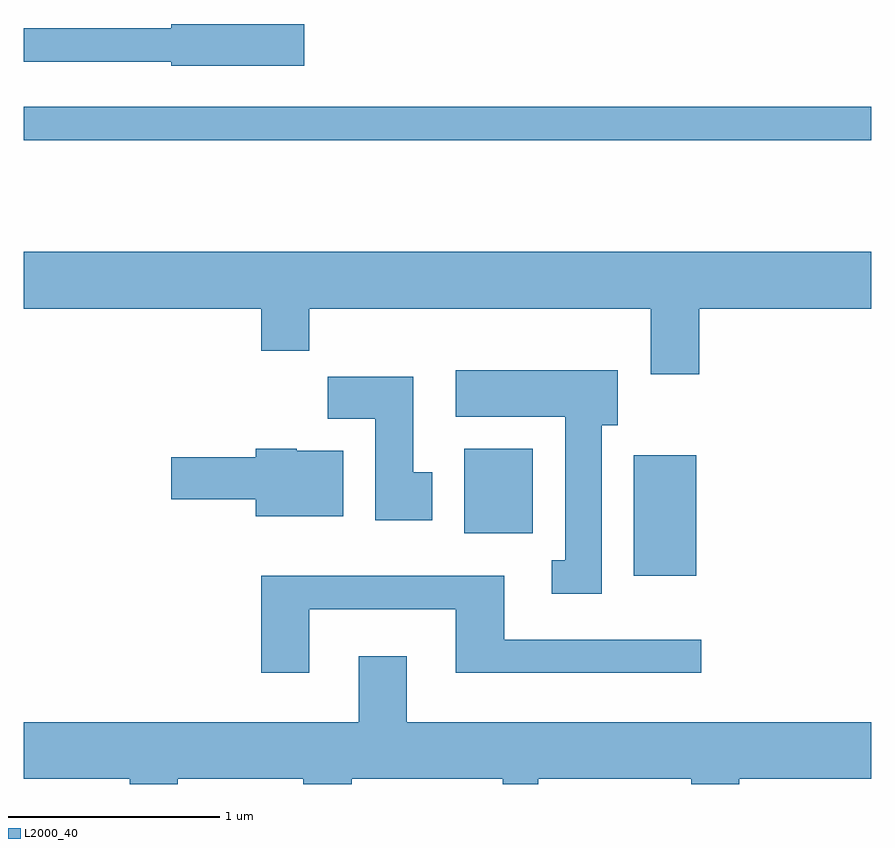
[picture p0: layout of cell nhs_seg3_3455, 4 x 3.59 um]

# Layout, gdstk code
import gdstk
lib = gdstk.Library(unit=1e-6, precision=1e-09)
def R(c, l, rs):  # rectangles x0, y0, x1, y1
    for r in rs: c.add(gdstk.rectangle(r[:2], r[2:], *l))
def P(c, l, *ps):  # polygons
    for p in ps: c.add(gdstk.Polygon(p, *l))
L2000_40 = (2000, 40)

nhs_seg3_3455 = lib.new_cell('nhs_seg3_3455')
R(nhs_seg3_3455, L2000_40, [(288.491,1226.876,288.784,1227.444), (287.691,1227.076,288.014,1227.474), (285.611,1228.931,289.611,1229.089)])
P(nhs_seg3_3455, L2000_40, [(286.934,1229.479),(286.306,1229.479),(286.306,1229.459),(285.611,1229.459),(285.611,1229.301),(286.306,1229.301),(286.306,1229.281),(286.934,1229.281)],
  [(288.799,1228.136),(289.611,1228.136),(289.611,1228.404),(285.611,1228.404),(285.611,1228.136),(286.731,1228.136),(286.731,1227.936),(286.959,1227.936),(286.959,1228.136),(288.571,1228.136),(288.571,1227.826),(288.799,1227.826)],
  [(288.339,1227.586),(288.414,1227.586),(288.414,1227.844),(287.651,1227.844),(287.651,1227.626),(288.166,1227.626),(288.166,1226.949),(288.103,1226.949),(288.103,1226.791),(288.339,1226.791)],
  [(287.539,1227.364),(287.449,1227.364),(287.449,1227.814),(287.046,1227.814),(287.046,1227.616),(287.271,1227.616),(287.271,1227.136),(287.539,1227.136)],
  [(287.119,1227.464),(286.9,1227.464),(286.9,1227.474),(286.706,1227.474),(286.706,1227.434),(286.306,1227.434),(286.306,1227.236),(286.706,1227.236),(286.706,1227.156),(287.119,1227.156)],
  [(286.959,1226.716),(287.651,1226.716),(287.651,1226.416),(288.808,1226.416),(288.808,1226.574),(287.879,1226.574),(287.879,1226.874),(286.731,1226.874),(286.731,1226.416),(286.959,1226.416)],
  [(286.339,1225.916),(286.931,1225.916),(286.931,1225.892),(287.159,1225.892),(287.159,1225.916),(287.871,1225.916),(287.871,1225.892),(288.039,1225.892),(288.039,1225.916),(288.761,1225.916),(288.761,1225.892),(288.989,1225.892),(288.989,1225.916),(289.611,1225.916),(289.611,1226.184),(287.419,1226.184),(287.419,1226.494),(287.191,1226.494),(287.191,1226.184),(285.611,1226.184),(285.611,1225.916),(286.111,1225.916),(286.111,1225.892),(286.339,1225.892)])

lib.write_gds('nhs_seg3_3455.gds')
